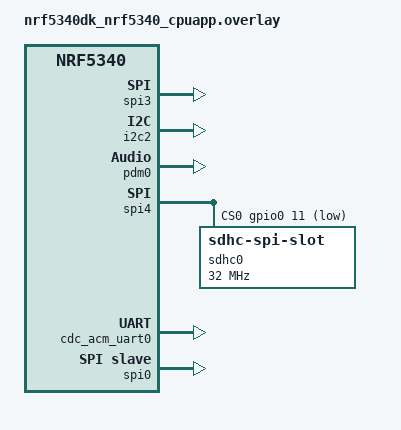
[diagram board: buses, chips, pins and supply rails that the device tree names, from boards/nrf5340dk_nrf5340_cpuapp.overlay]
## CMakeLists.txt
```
cmake_minimum_required(VERSION 3.20.0)
find_package(Zephyr REQUIRED HINTS $ENV{ZEPHYR_BASE})

add_definitions(-DFIXED_POINT)
add_definitions(-DVAR_ARRAYS)
# add_definitions(-DUSE_ALLOCA)
# add_definitions(-DHAVE_ALLOCA_H)
add_definitions(-DDISABLE_FLOAT_API)
add_definitions(-DOPUS_BUILD)
add_definitions(-DCONFIG_OPUS_MODE)
add_definitions(-DCONFIG_OPUS_MODE_CELT)
add_definitions(-DCONFIG_OPUS_MODE_SILK)
add_definitions(-DFF_USE_FASTSEEK=1)


include_directories(
    opus-1.2.1
    opus-1.2.1/arm
    src/drivers
    src/VersaAPI
    src/cough_E_app/inc
)

project(VersaSens)

file(GLOB OPUS_SOURCES 
    "opus-1.2.1/*.c" 
    "opus-1.2.1/arm/*.c" 
)

file(GLOB DRIVERS 
    "src/drivers/*.c" 
)

file(GLOB API 
    "src/VersaAPI/*.c" 
)

file(GLOB APP_SRC
    "src/cough_E_app/code/*.c"
)

target_sources(app PRIVATE 
    src/main.c 
    ${DRIVERS}
    ${API}
    ${OPUS_SOURCES}
    ${APP_SRC}
)


# Link the math library
target_link_libraries(app PRIVATE m)
```

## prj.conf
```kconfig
CONFIG_DK_LIBRARY=y

CONFIG_GPIO=y
CONFIG_CLOCK_CONTROL=y
CONFIG_CLOCK_CONTROL_NRF_K32SRC_RC=y
CONFIG_CLOCK_CONTROL_NRF_K32SRC_XTAL=n
CONFIG_SOC_ENABLE_LFXO=n

CONFIG_BT=y
CONFIG_BT_DEBUG_LOG=y
CONFIG_BT_PERIPHERAL=y
CONFIG_BT_DEVICE_NAME="VersaSens_IoT_Stefano"
CONFIG_BT_BAS=y
# CONFIG_BT_HRS=y

CONFIG_BT_CTLR_ADV_EXT=y

CONFIG_BT_EXT_ADV=y
CONFIG_BT_USER_PHY_UPDATE=y

CONFIG_BT_USER_DATA_LEN_UPDATE=y
CONFIG_BT_USER_PHY_UPDATE=y

CONFIG_BT_BUF_ACL_RX_SIZE=251
CONFIG_BT_ATT_PREPARE_COUNT=2
CONFIG_BT_L2CAP_TX_BUF_COUNT=10
CONFIG_BT_L2CAP_TX_MTU=247
CONFIG_BT_CONN_TX_MAX=10
CONFIG_BT_BUF_ACL_TX_COUNT=20
CONFIG_BT_BUF_ACL_TX_SIZE=251
CONFIG_SYSTEM_WORKQUEUE_STACK_SIZE=4096
CONFIG_BT_BUF_ACL_RX_COUNT=20
CONFIG_BT_BUF_ACL_RX_SIZE=251

CONFIG_BT_USER_DATA_LEN_UPDATE=y
CONFIG_BT_GATT_CLIENT=y

CONFIG_BT_GAP_AUTO_UPDATE_CONN_PARAMS=y
CONFIG_BT_PERIPHERAL_PREF_MIN_INT=6
CONFIG_BT_PERIPHERAL_PREF_MAX_INT=6

CONFIG_PINCTRL=y
CONFIG_NRFX_TWIM2=y
# CONFIG_I2C=y
# CONFIG_I2C_NRFX=y
CONFIG_NRFX_UARTE1=y
CONFIG_NRFX_PDM=y
CONFIG_NRFX_SPIM3=y
CONFIG_NRFX_SPIM4=y
CONFIG_NRFX_SPIS0=y

CONFIG_NRFX_GPIOTE=y

CONFIG_LOG=y
CONFIG_ASSERT=y

CONFIG_DISK_ACCESS=y
CONFIG_FILE_SYSTEM=y
CONFIG_FAT_FILESYSTEM_ELM=y
CONFIG_PRINTK=y
CONFIG_SPI=y
CONFIG_DISK_DRIVER_SDMMC=y
CONFIG_NORDIC_QSPI_NOR=y

CONFIG_MAIN_STACK_SIZE=20000

# allocate heap memory for fifo
# CONFIG_HEAP_MEM_POOL_SIZE=8192
CONFIG_HEAP_MEM_POOL_SIZE=215000

CONFIG_NORDIC_QSPI_NOR=y
CONFIG_NORDIC_QSPI_NOR_FLASH_LAYOUT_PAGE_SIZE=4096
CONFIG_DISK_DRIVERS=y
CONFIG_DISK_DRIVER_FLASH=y

CONFIG_SDHC=y
CONFIG_DISK_DRIVER_SDMMC=y

CONFIG_STDOUT_CONSOLE=y

#USB related configs
CONFIG_USB_DEVICE_STACK=y
CONFIG_USB_DEVICE_PRODUCT="Zephyr MSC sample"
CONFIG_USB_DEVICE_PID=0x0008
CONFIG_USB_DRIVER_LOG_LEVEL_ERR=y
CONFIG_USB_MASS_STORAGE=y
CONFIG_USB_DEVICE_LOG_LEVEL_ERR=y
CONFIG_USB_MASS_STORAGE_LOG_LEVEL_ERR=y
CONFIG_USB_DEVICE_INITIALIZE_AT_BOOT=n
CONFIG_MASS_STORAGE_DISK_NAME="SD"
CONFIG_MASS_STORAGE_STACK_SIZE=8192

CONFIG_POSIX_API=y

CONFIG_USB_CDC_ACM=y
CONFIG_USB_COMPOSITE_DEVICE=y


CONFIG_CONSOLE=y
CONFIG_RTT_CONSOLE=y
CONFIG_USE_SEGGER_RTT=y
CONFIG_UART_CONSOLE=n

CONFIG_LOG_BACKEND_RTT=y
CONFIG_LOG_BUFFER_SIZE=4096
CONFIG_SEGGER_RTT_BUFFER_SIZE_UP=4096
CONFIG_SEGGER_RTT_BUFFER_SIZE_DOWN=64

# # CONFIG_LOG=y
# CONFIG_CONSOLE=y
# CONFIG_RTT_CONSOLE=y
# CONFIG_USE_SEGGER_RTT=y
# # CONFIG_LOG_BACKEND_RTT=y
# CONFIG_UART_CONSOLE=n
# # CONFIG_SEGGER_RTT_BUFFER_SIZE_UP=1024
# CONFIG_SEGGER_RTT_BUFFER_SIZE_UP=2048
# CONFIG_RTT_TX_RETRY_CNT=10
# CONFIG_RTT_TX_RETRY_DELAY_MS=1

# CONFIG_LOG_BACKEND_RTT_MODE_BLOCK=y

# CONFIG_LOG_BUFFER_SIZE=4096
# # CONFIG_LOG_BUFFER_SIZE=8192


# # CONFIG_THREAD_ANALYZER=y
# # CONFIG_THREAD_ANALYZER_USE_PRINTK=y
# # CONFIG_THREAD_ANALYZER_AUTO=y
# # CONFIG_THREAD_ANALYZER_AUTO_INTERVAL=5
# # CONFIG_THREAD_NAME=y


CONFIG_FPU=y
```

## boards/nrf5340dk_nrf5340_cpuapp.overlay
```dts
#include "pinctrl.dtsi"

&spi3 {
    status = "okay";
    compatible = "nordic,nrf-spim";
    pinctrl-0 = <&spi_master>;
    pinctrl-names = "default";
};

&i2c2 {
    status = "okay";
    compatible = "nordic,nrf-twim";
    pinctrl-0 = <&i2c_master>;
};

&i2c1 {
    status = "disabled";
};


&uart1 {
    status = "disabled";
    compatible = "nordic,nrf-uarte";
};

/ {
	chosen {
		nordic,pm-ext-flash = &mx25r64;
	};
};

&pdm0 {
    status = "okay";
    compatible = "nordic,nrf-pdm";
    pinctrl-0 = <&pdm_clk>;
};

&spi4 {
    status = "okay";
    compatible = "nordic,nrf-spim";
    cs-gpios = <&gpio0 11 GPIO_ACTIVE_LOW>;

    pinctrl-0 = <&spi_sd>;

    sdhc0: sdhc@0 {
            compatible = "zephyr,sdhc-spi-slot";
            reg = <0>;
            status = "okay";
            mmc {
                compatible = "zephyr,sdmmc-disk";
                status = "okay";
            };
            spi-max-frequency = <32000000>;
    };
};

&gpio_fwd {
    status = "disabled";
};

&usbd {
    cdc_acm_uart0: cdc_acm_uart0 {
		status = "okay";
        compatible = "zephyr,cdc-acm-uart";
        label = "CDC_ACM_0";
    };
};


&spi0 {
    status = "okay";
    compatible = "nordic,nrf-spis";
    pinctrl-0 = <&spi_heepo>;
    pinctrl-names = "default";
    def-char = <0x00>;
};

&uart0 {
    status = "disabled";
};
```

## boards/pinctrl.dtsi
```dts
&pinctrl {
    spi_master: spi_master {
        group1 {
            psels = <NRF_PSEL(SPIM_SCK, 0, 29)>,
                <NRF_PSEL(SPIM_MISO, 1, 0)>,
                <NRF_PSEL(SPIM_MOSI, 0, 30)>;
        };
    };

    spi_master_sleep: spi_master_sleep {
        group1 {
            psels = <NRF_PSEL(SPIM_SCK, 0, 29)>,
                <NRF_PSEL(SPIM_MISO, 1, 0)>,
                <NRF_PSEL(SPIM_MOSI, 0, 30)>;
            low-power-enable;
        };
    };

    spi_sd: spi_sd {
        group1 {
            psels = <NRF_PSEL(SPIM_SCK, 0, 8)>,
                <NRF_PSEL(SPIM_MISO, 0, 10)>,
                <NRF_PSEL(SPIM_MOSI, 0, 9)>;
        };
    };

    spi_heepo: spi_heepo {
        group1 {
            psels = <NRF_PSEL(SPIM_SCK, 0, 4)>,
                <NRF_PSEL(SPIM_MISO, 1, 2)>,
                <NRF_PSEL(SPIM_MOSI, 0, 0)>;
        };
    };

    i2c_master: i2c_master {
        group1 {
            psels = <NRF_PSEL(TWIM_SDA, 1, 1)>,
                <NRF_PSEL(TWIM_SCL, 1, 15)>;
        };
    };

    pdm_clk: pdm_clk {
        group1 {
            psels = <NRF_PSEL(PDM_CLK, 1, 3)>;
        };
    };
};
```

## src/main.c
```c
#include <zephyr/kernel.h>
#include <zephyr/types.h>
#include <zephyr/usb/usb_device.h>
#include <time.h>
#include <zephyr/bluetooth/bluetooth.h>
#include <zephyr/bluetooth/conn.h>
#include <zephyr/bluetooth/uuid.h>
#include <zephyr/bluetooth/gatt.h>
#include <zephyr/bluetooth/hci.h>
#include <nrfx_gpiote.h>
#include "MAX77658.h"
#include "versa_ble.h"
#include "twim_inst.h"
#include "storage.h"
#include "ADS1298.h"
#include "MAX30001.h"
#include "versa_api.h"
#include <zephyr/devicetree.h>
#include <zephyr/storage/disk_access.h>
#include <zephyr/logging/log.h>
#include <zephyr/fs/fs.h>
#include <ff.h>
#include <SPI_Heepocrates.h>
#include <launcher.h>
#include "app_data.h"

LOG_MODULE_REGISTER(main, LOG_LEVEL_INF);


int main(void)
{
    // nrf_gpio_cfg_output(START_PIN);
    // nrf_gpio_pin_set(START_PIN);
    
    versa_init();
    // enable_auto_connect();
    versa_config();

    versa_start_led_thread();
    versa_start_mode_thread();

    // Start the Cough-E thread for the application
    start_coughE_thread(); 

    while (1)
    {
        k_sleep(K_MSEC(500));
        // int8_t *test = k_malloc(1000 * sizeof(int8_t));
        // if(test != NULL){
        //     LOG_INF("POINTER %p", test);
        // } else {
        //     LOG_ERR("ERRO ALLOC");
        // }
        // k_free(test);
        // LOG_INF("HELLOW!\n");

        // // data aquisition example
        // k_sleep(K_MSEC(10));
        // struct app_data_struct *data = k_malloc(sizeof(*data));
        // if (data == NULL)
        // {
        //     LOG_ERR("Failed to allocate memory for new_data\n");
        // }
        // else
        // {
        //     app_data_get_from_fifo(data);
        // }
        
        // if (data != NULL)
        // {
        //     LOG_INF("Data received from FIFO: %02hx", data->data[0]);
        //     k_free(data);
        // }
    }
}
```
